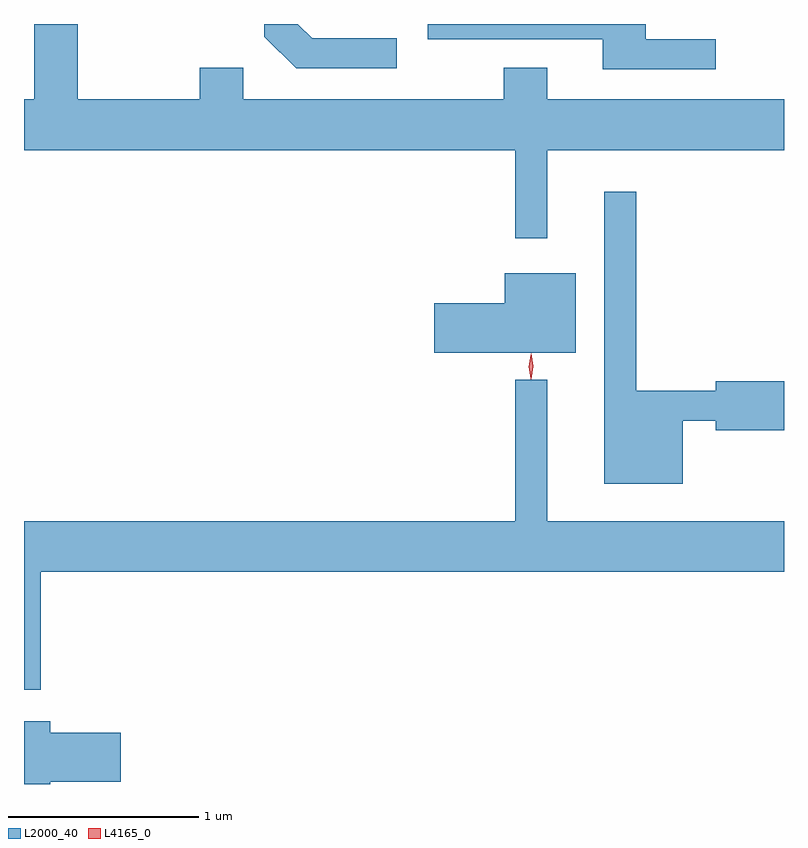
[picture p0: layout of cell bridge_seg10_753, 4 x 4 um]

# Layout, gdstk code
import gdstk
lib = gdstk.Library(unit=1e-6, precision=1e-09)
def P(c, l, *ps):  # polygons
    for p in ps: c.add(gdstk.Polygon(p, *l))
L2000_40 = (2000, 40)
L4165_0 = (4165, 0)

bridge_seg10_753 = lib.new_cell('bridge_seg10_753')
P(bridge_seg10_753, L2000_40, [(548.149,2160.536),(549.396,2160.536),(549.396,2160.804),(548.149,2160.804),(548.149,2160.969),(547.921,2160.969),(547.921,2160.804),(546.549,2160.804),(546.549,2160.969),(546.321,2160.969),(546.321,2160.804),(545.679,2160.804),(545.679,2161.2),(545.451,2161.2),(545.451,2160.804),(545.396,2160.804),(545.396,2160.536),(547.981,2160.536),(547.981,2160.073),(548.149,2160.073)],
  [(547.358,2161.124),(546.912,2161.124),(546.836,2161.2),(546.661,2161.2),(546.661,2161.134),(546.829,2160.966),(547.358,2160.966)],
  [(549.038,2161.119),(548.669,2161.119),(548.669,2161.2),(547.521,2161.2),(547.521,2161.121),(548.441,2161.121),(548.441,2160.961),(549.038,2160.961)],
  [(548.864,2159.111),(549.036,2159.111),(549.036,2159.061),(549.396,2159.061),(549.396,2159.319),(549.036,2159.319),(549.036,2159.269),(548.619,2159.269),(548.619,2160.318),(548.451,2160.318),(548.451,2158.781),(548.864,2158.781)],
  [(548.299,2159.889),(547.926,2159.889),(547.926,2159.729),(547.556,2159.729),(547.556,2159.471),(548.299,2159.471)],
  [(545.484,2158.316),(549.396,2158.316),(549.396,2158.584),(548.149,2158.584),(548.149,2159.328),(547.981,2159.328),(547.981,2158.584),(545.396,2158.584),(545.396,2157.696),(545.484,2157.696)],
  [(545.534,2157.211),(545.904,2157.211),(545.904,2157.469),(545.534,2157.469),(545.534,2157.529),(545.396,2157.529),(545.396,2157.2),(545.534,2157.2)])
P(bridge_seg10_753, L4165_0, [(548.064,2159.33),(548.056,2159.398),(548.066,2159.466),(548.066,2159.466),(548.067,2159.466),(548.076,2159.398),(548.066,2159.33),(548.065,2159.33)],
  [(548.062,2159.333),(548.062,2159.334),(548.052,2159.396),(548.062,2159.459),(548.062,2159.46),(548.062,2159.459),(548.072,2159.396),(548.062,2159.334)])

lib.write_gds('bridge_seg10_753.gds')
